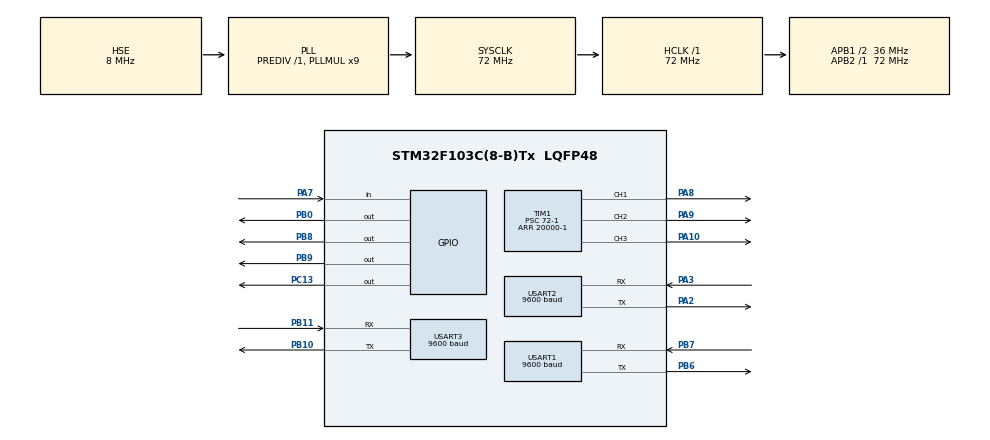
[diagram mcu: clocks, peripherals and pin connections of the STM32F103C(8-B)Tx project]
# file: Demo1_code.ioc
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Mcu.Family=STM32F1
Mcu.Name=STM32F103C(8-B)Tx
Mcu.Package=LQFP48
NVIC.PriorityGroup=NVIC_PRIORITYGROUP_4
NVIC.TIM1_BRK_IRQn=true\:0\:0\:false\:false\:true\:true\:true\:true
NVIC.TIM1_CC_IRQn=true\:0\:0\:false\:false\:true\:true\:true\:true
NVIC.TIM1_TRG_COM_IRQn=true\:0\:0\:false\:false\:true\:true\:true\:true
NVIC.TIM1_UP_IRQn=true\:0\:0\:false\:false\:true\:true\:true\:true
NVIC.USART1_IRQn=true\:0\:0\:false\:false\:true\:true\:true\:true
NVIC.USART2_IRQn=true\:0\:0\:false\:false\:true\:true\:true\:true
NVIC.USART3_IRQn=true\:0\:0\:false\:false\:true\:true\:true\:true
PA10.Signal=S_TIM1_CH3
PA13.Mode=Serial_Wire
PA13.Signal=SYS_JTMS-SWDIO
PA14.Mode=Serial_Wire
PA14.Signal=SYS_JTCK-SWCLK
PA2.Mode=Asynchronous
PA2.Signal=USART2_TX
PA3.Mode=Asynchronous
PA3.Signal=USART2_RX
PA7.Signal=GPIO_Input
PA8.Signal=S_TIM1_CH1
PA9.Signal=S_TIM1_CH2
PB0.Signal=GPIO_Output
PB10.Mode=Asynchronous
PB10.Signal=USART3_TX
PB11.Mode=Asynchronous
PB11.Signal=USART3_RX
PB6.Mode=Asynchronous
PB6.Signal=USART1_TX
PB7.Mode=Asynchronous
PB7.Signal=USART1_RX
PB8.Signal=GPIO_Output
PB9.Signal=GPIO_Output
PC13-TAMPER-RTC.Signal=GPIO_Output
PD0-OSC_IN.Mode=HSE-External-Oscillator
PD0-OSC_IN.Signal=RCC_OSC_IN
PD1-OSC_OUT.Mode=HSE-External-Oscillator
PD1-OSC_OUT.Signal=RCC_OSC_OUT
ProjectManager.HeapSize=0x200
ProjectManager.StackSize=0x400
ProjectManager.TargetToolchain=STM32CubeIDE
RCC.AHBFreq_Value=72000000
RCC.APB1CLKDivider=RCC_HCLK_DIV2
RCC.APB1Freq_Value=36000000
RCC.APB1TimFreq_Value=72000000
RCC.APB2Freq_Value=72000000
RCC.APB2TimFreq_Value=72000000
RCC.HCLKFreq_Value=72000000
RCC.PLLMUL=RCC_PLL_MUL9
RCC.PLLSourceVirtual=RCC_PLLSOURCE_HSE
RCC.SYSCLKFreq_VALUE=72000000
RCC.SYSCLKSource=RCC_SYSCLKSOURCE_PLLCLK
RCC.USBFreq_Value=72000000
SH.S_TIM1_CH1.0=TIM1_CH1,PWM Generation1 CH1
SH.S_TIM1_CH2.0=TIM1_CH2,PWM Generation2 CH2
SH.S_TIM1_CH3.0=TIM1_CH3,PWM Generation3 CH3
TIM1.Channel-PWM\ Generation1\ CH1=TIM_CHANNEL_1
TIM1.Channel-PWM\ Generation2\ CH2=TIM_CHANNEL_2
TIM1.Channel-PWM\ Generation3\ CH3=TIM_CHANNEL_3
TIM1.Period=20000-1
TIM1.Prescaler=72-1
USART1.BaudRate=9600
USART1.VirtualMode=VM_ASYNC
USART2.BaudRate=9600
USART2.VirtualMode=VM_ASYNC
USART3.BaudRate=9600
USART3.VirtualMode=VM_ASYNC
VP_TIM1_VS_ClockSourceINT.Mode=Internal
board=custom

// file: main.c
/* USER CODE BEGIN Header */
/**
  ******************************************************************************
  * @file           : main.c
  * @brief          : Main program body
  ******************************************************************************
  * @attention
  *
  * Copyright (c) 2025 STMicroelectronics.
  * All rights reserved.
  *
  * This software is licensed under terms that can be found in the LICENSE file
  * in the root directory of this software component.
  * If no LICENSE file comes with this software, it is provided AS-IS.
  *
  ******************************************************************************
  */
/* USER CODE END Header */
#include "main.h"

/* USER CODE BEGIN Includes */
#include"stdio.h"
/* USER CODE END Includes */

TIM_HandleTypeDef htim1;

UART_HandleTypeDef huart1;
UART_HandleTypeDef huart2;
UART_HandleTypeDef huart3;

/* USER CODE BEGIN PV */
uint8_t rxByte = 0;
uint8_t rxBuffer[64];
uint8_t index = 0;
/* USER CODE END PV */

void SystemClock_Config(void);
static void MX_GPIO_Init(void);
static void MX_TIM1_Init(void);
static void MX_USART1_UART_Init(void);
static void MX_USART2_UART_Init(void);
static void MX_USART3_UART_Init(void);

/* USER CODE BEGIN 0 */
uint16_t time = 0;
/* USER CODE END 0 */

int main(void)
{

  /* USER CODE BEGIN 1 */
	HAL_Init();
  /* USER CODE END 1 */

  /* MCU Configuration--------------------------------------------------------*/

  /* Reset of all peripherals, Initializes the Flash interface and the Systick. */
  HAL_Init();

  /* Configure the system clock */
  SystemClock_Config();

  /* Initialize all configured peripherals */
  MX_GPIO_Init();
  MX_TIM1_Init();
  MX_USART1_UART_Init();
  MX_USART2_UART_Init();
  MX_USART3_UART_Init();
  /* USER CODE BEGIN 2 */
  HAL_UART_Receive_IT(&huart1, &rxByte, 1);

  HAL_TIM_PWM_Start(&htim1, TIM_CHANNEL_1);
   HAL_TIM_PWM_Start(&htim1, TIM_CHANNEL_2);
   HAL_TIM_PWM_Start(&htim1, TIM_CHANNEL_3);

   __HAL_TIM_SET_COMPARE(&htim1,TIM_CHANNEL_1,1000); //left motor from the box side , direction start 1000 , lower header
 __HAL_TIM_SET_COMPARE(&htim1,TIM_CHANNEL_2,1500); //right motor from the box side , bidirectional start from 1500 , A9 in the middle header
 __HAL_TIM_SET_COMPARE(&htim1,TIM_CHANNEL_3,1000);// top motor in the robot , direction start from 1000 up , header
//   __HAL_TIM_SET_COMPARE(&htim1,TIM_CHANNEL_3,1500);
  /* USER CODE END 2 */

  /* Infinite loop */
  while (1)
  {

	  if(HAL_GetTick() - time > 200){
		  time = HAL_GetTick();
		  HAL_GPIO_TogglePin(GPIOC, GPIO_PIN_13);

	  }

	  HAL_GPIO_WritePin(GPIOB, GPIO_PIN_0,1);//LED pin B0 active high
	  HAL_GPIO_WritePin(GPIOB, GPIO_PIN_8,0);//enble RS485 recive only
	  HAL_GPIO_WritePin(GPIOB, GPIO_PIN_9,0);

	  if(!HAL_GPIO_ReadPin(GPIOA, GPIO_PIN_7)){ //A7 button active low
		  while(!HAL_GPIO_ReadPin(GPIOA, GPIO_PIN_7));
		  HAL_UART_Transmit(&huart2, (uint8_t*)"Hello USART2\r\n", 14, HAL_MAX_DELAY);
		  __HAL_TIM_SET_COMPARE(&htim1,TIM_CHANNEL_1,1700);
		  __HAL_TIM_SET_COMPARE(&htim1,TIM_CHANNEL_2,1700);
		  __HAL_TIM_SET_COMPARE(&htim1,TIM_CHANNEL_3,1700);
		  //	      HAL_Delay(1000);
	  }
  }
}

void SystemClock_Config(void)
{
  RCC_OscInitTypeDef RCC_OscInitStruct = {0};
  RCC_ClkInitTypeDef RCC_ClkInitStruct = {0};

  /** Initializes the RCC Oscillators according to the specified parameters
  * in the RCC_OscInitTypeDef structure.
  */
  RCC_OscInitStruct.OscillatorType = RCC_OSCILLATORTYPE_HSE;
  RCC_OscInitStruct.HSEState = RCC_HSE_ON;
  RCC_OscInitStruct.HSEPredivValue = RCC_HSE_PREDIV_DIV1;
  RCC_OscInitStruct.HSIState = RCC_HSI_ON;
  RCC_OscInitStruct.PLL.PLLState = RCC_PLL_ON;
  RCC_OscInitStruct.PLL.PLLSource = RCC_PLLSOURCE_HSE;
  RCC_OscInitStruct.PLL.PLLMUL = RCC_PLL_MUL9;
  if (HAL_RCC_OscConfig(&RCC_OscInitStruct) != HAL_OK)
  {
    Error_Handler();
  }

  /** Initializes the CPU, AHB and APB buses clocks
  */
  RCC_ClkInitStruct.ClockType = RCC_CLOCKTYPE_HCLK|RCC_CLOCKTYPE_SYSCLK
                              |RCC_CLOCKTYPE_PCLK1|RCC_CLOCKTYPE_PCLK2;
  RCC_ClkInitStruct.SYSCLKSource = RCC_SYSCLKSOURCE_PLLCLK;
  RCC_ClkInitStruct.AHBCLKDivider = RCC_SYSCLK_DIV1;
  RCC_ClkInitStruct.APB1CLKDivider = RCC_HCLK_DIV2;
  RCC_ClkInitStruct.APB2CLKDivider = RCC_HCLK_DIV1;

  if (HAL_RCC_ClockConfig(&RCC_ClkInitStruct, FLASH_LATENCY_2) != HAL_OK)
  {
    Error_Handler();
  }
}

static void MX_TIM1_Init(void)
{

  TIM_ClockConfigTypeDef sClockSourceConfig = {0};
  TIM_MasterConfigTypeDef sMasterConfig = {0};
  TIM_OC_InitTypeDef sConfigOC = {0};
  TIM_BreakDeadTimeConfigTypeDef sBreakDeadTimeConfig = {0};

  htim1.Instance = TIM1;
  htim1.Init.Prescaler = 72-1;
  htim1.Init.CounterMode = TIM_COUNTERMODE_UP;
  htim1.Init.Period = 20000-1;
  htim1.Init.ClockDivision = TIM_CLOCKDIVISION_DIV1;
  htim1.Init.RepetitionCounter = 0;
  htim1.Init.AutoReloadPreload = TIM_AUTORELOAD_PRELOAD_DISABLE;
  if (HAL_TIM_Base_Init(&htim1) != HAL_OK)
  {
    Error_Handler();
  }
  sClockSourceConfig.ClockSource = TIM_CLOCKSOURCE_INTERNAL;
  if (HAL_TIM_ConfigClockSource(&htim1, &sClockSourceConfig) != HAL_OK)
  {
    Error_Handler();
  }
  if (HAL_TIM_PWM_Init(&htim1) != HAL_OK)
  {
    Error_Handler();
  }
  sMasterConfig.MasterOutputTrigger = TIM_TRGO_RESET;
  sMasterConfig.MasterSlaveMode = TIM_MASTERSLAVEMODE_DISABLE;
  if (HAL_TIMEx_MasterConfigSynchronization(&htim1, &sMasterConfig) != HAL_OK)
  {
    Error_Handler();
  }
  sConfigOC.OCMode = TIM_OCMODE_PWM1;
  sConfigOC.Pulse = 0;
  sConfigOC.OCPolarity = TIM_OCPOLARITY_HIGH;
  sConfigOC.OCNPolarity = TIM_OCNPOLARITY_HIGH;
  sConfigOC.OCFastMode = TIM_OCFAST_DISABLE;
  sConfigOC.OCIdleState = TIM_OCIDLESTATE_RESET;
  sConfigOC.OCNIdleState = TIM_OCNIDLESTATE_RESET;
  if (HAL_TIM_PWM_ConfigChannel(&htim1, &sConfigOC, TIM_CHANNEL_1) != HAL_OK)
  {
    Error_Handler();
  }
  if (HAL_TIM_PWM_ConfigChannel(&htim1, &sConfigOC, TIM_CHANNEL_2) != HAL_OK)
  {
    Error_Handler();
  }
  if (HAL_TIM_PWM_ConfigChannel(&htim1, &sConfigOC, TIM_CHANNEL_3) != HAL_OK)
  {
    Error_Handler();
  }
  sBreakDeadTimeConfig.OffStateRunMode = TIM_OSSR_DISABLE;
  sBreakDeadTimeConfig.OffStateIDLEMode = TIM_OSSI_DISABLE;
  sBreakDeadTimeConfig.LockLevel = TIM_LOCKLEVEL_OFF;
  sBreakDeadTimeConfig.DeadTime = 0;
  sBreakDeadTimeConfig.BreakState = TIM_BREAK_DISABLE;
  sBreakDeadTimeConfig.BreakPolarity = TIM_BREAKPOLARITY_HIGH;
  sBreakDeadTimeConfig.AutomaticOutput = TIM_AUTOMATICOUTPUT_DISABLE;
  if (HAL_TIMEx_ConfigBreakDeadTime(&htim1, &sBreakDeadTimeConfig) != HAL_OK)
  {
    Error_Handler();
  }
  HAL_TIM_MspPostInit(&htim1);

}

static void MX_USART1_UART_Init(void)
{

  huart1.Instance = USART1;
  huart1.Init.BaudRate = 9600;
  huart1.Init.WordLength = UART_WORDLENGTH_8B;
  huart1.Init.StopBits = UART_STOPBITS_1;
  huart1.Init.Parity = UART_PARITY_NONE;
  huart1.Init.Mode = UART_MODE_TX_RX;
  huart1.Init.HwFlowCtl = UART_HWCONTROL_NONE;
  huart1.Init.OverSampling = UART_OVERSAMPLING_16;
  if (HAL_UART_Init(&huart1) != HAL_OK)
  {
    Error_Handler();
  }

}

static void MX_USART2_UART_Init(void)
{

  huart2.Instance = USART2;
  huart2.Init.BaudRate = 9600;
  huart2.Init.WordLength = UART_WORDLENGTH_8B;
  huart2.Init.StopBits = UART_STOPBITS_1;
  huart2.Init.Parity = UART_PARITY_NONE;
  huart2.Init.Mode = UART_MODE_TX_RX;
  huart2.Init.HwFlowCtl = UART_HWCONTROL_NONE;
  huart2.Init.OverSampling = UART_OVERSAMPLING_16;
  if (HAL_UART_Init(&huart2) != HAL_OK)
  {
    Error_Handler();
  }

}

static void MX_USART3_UART_Init(void)
{

  huart3.Instance = USART3;
  huart3.Init.BaudRate = 9600;
  huart3.Init.WordLength = UART_WORDLENGTH_8B;
  huart3.Init.StopBits = UART_STOPBITS_1;
  huart3.Init.Parity = UART_PARITY_NONE;
  huart3.Init.Mode = UART_MODE_TX_RX;
  huart3.Init.HwFlowCtl = UART_HWCONTROL_NONE;
  huart3.Init.OverSampling = UART_OVERSAMPLING_16;
  if (HAL_UART_Init(&huart3) != HAL_OK)
  {
    Error_Handler();
  }

}

static void MX_GPIO_Init(void)
{
  GPIO_InitTypeDef GPIO_InitStruct = {0};

  /* GPIO Ports Clock Enable */
  __HAL_RCC_GPIOC_CLK_ENABLE();
  __HAL_RCC_GPIOD_CLK_ENABLE();
  __HAL_RCC_GPIOA_CLK_ENABLE();
  __HAL_RCC_GPIOB_CLK_ENABLE();

  /*Configure GPIO pin Output Level */
  HAL_GPIO_WritePin(GPIOC, GPIO_PIN_13, GPIO_PIN_RESET);

  /*Configure GPIO pin Output Level */
  HAL_GPIO_WritePin(GPIOB, GPIO_PIN_0|GPIO_PIN_8|GPIO_PIN_9, GPIO_PIN_RESET);

  /*Configure GPIO pin : PC13 */
  GPIO_InitStruct.Pin = GPIO_PIN_13;
  GPIO_InitStruct.Mode = GPIO_MODE_OUTPUT_PP;
  GPIO_InitStruct.Pull = GPIO_NOPULL;
  GPIO_InitStruct.Speed = GPIO_SPEED_FREQ_LOW;
  HAL_GPIO_Init(GPIOC, &GPIO_InitStruct);

  /*Configure GPIO pin : PA7 */
  GPIO_InitStruct.Pin = GPIO_PIN_7;
  GPIO_InitStruct.Mode = GPIO_MODE_INPUT;
  GPIO_InitStruct.Pull = GPIO_NOPULL;
  HAL_GPIO_Init(GPIOA, &GPIO_InitStruct);

  /*Configure GPIO pins : PB0 PB8 PB9 */
  GPIO_InitStruct.Pin = GPIO_PIN_0|GPIO_PIN_8|GPIO_PIN_9;
  GPIO_InitStruct.Mode = GPIO_MODE_OUTPUT_PP;
  GPIO_InitStruct.Pull = GPIO_NOPULL;
  GPIO_InitStruct.Speed = GPIO_SPEED_FREQ_LOW;
  HAL_GPIO_Init(GPIOB, &GPIO_InitStruct);

}

/* USER CODE BEGIN 4 */

void HAL_UART_RxCpltCallback(UART_HandleTypeDef *huart) {
  if (huart->Instance == USART1) {
    if (rxByte == '\n') {
      rxBuffer[index] = '\0';

      HAL_GPIO_TogglePin(GPIOC, GPIO_PIN_13);

      uint16_t buttons;
      int16_t lx, ly, rx, ry, r2, l2, dpad;

      sscanf((char*)rxBuffer,
             "BTN:%hu,LX:%hd,LY:%hd,RX:%hd,RY:%hd,r2:%hd,l2:%hd,dpad:%hd",
             &buttons, &lx, &ly, &rx, &ry, &r2, &l2, &dpad);

      if (buttons & 0x0001) { // X

    		    //  __HAL_TIM_SET_COMPARE(&htim1,TIM_CHANNEL_,1500);

    		      __HAL_TIM_SET_COMPARE(&htim1,TIM_CHANNEL_1,2000); // right
    		      __HAL_TIM_SET_COMPARE(&htim1,TIM_CHANNEL_3,2000);//up

    		      HAL_GPIO_TogglePin(GPIOB, GPIO_PIN_0);
      }

      if (buttons & 0x0008) { // tri

    	  	  	//  __HAL_TIM_SET_COMPARE(&htim1,TIM_CHANNEL_1,1000); // right

    		      __HAL_TIM_SET_COMPARE(&htim1,TIM_CHANNEL_2,1000); //left

    		      	  HAL_GPIO_TogglePin(GPIOB, GPIO_PIN_0);
      }
      if (buttons & 0x0004) { //sqr reverse

    	          //    __HAL_TIM_SET_COMPARE(&htim1,TIM_CHANNEL_1,500);   //
    	        	  __HAL_TIM_SET_COMPARE(&htim1,TIM_CHANNEL_2,2000);

    	        	//  __HAL_TIM_SET_COMPARE(&htim1,TIM_CHANNEL_3,1000);

    	  	  	  	  HAL_GPIO_TogglePin(GPIOB, GPIO_PIN_0);
      }

      if (buttons & 0x0002) { //circle

        	  __HAL_TIM_SET_COMPARE(&htim1,TIM_CHANNEL_1,1000);   // intial state for the motors
        	  __HAL_TIM_SET_COMPARE(&htim1,TIM_CHANNEL_2,1500);
        	  __HAL_TIM_SET_COMPARE(&htim1,TIM_CHANNEL_3,1000);

        	  HAL_GPIO_TogglePin(GPIOB, GPIO_PIN_0);
          }
      if (buttons & 0x0020) { // R1

           	  __HAL_TIM_SET_COMPARE(&htim1,TIM_CHANNEL_1,1200);   // intial state for the motors
           	  __HAL_TIM_SET_COMPARE(&htim1,TIM_CHANNEL_3,2000);
           	 // __HAL_TIM_SET_COMPARE(&htim1,TIM_CHANNEL_3,1000);

           	  HAL_GPIO_TogglePin(GPIOB, GPIO_PIN_0);
             }
      if (buttons & 0x0010) { // L1

           	  __HAL_TIM_SET_COMPARE(&htim1,TIM_CHANNEL_1,2000);   // intial state for the motors
           	  __HAL_TIM_SET_COMPARE(&htim1,TIM_CHANNEL_3,1200);

           	//  __HAL_TIM_SET_COMPARE(&htim1,TIM_CHANNEL_3,1000);

           	  HAL_GPIO_TogglePin(GPIOB, GPIO_PIN_0);
             }

      // USART2
      HAL_UART_Transmit(&huart2, rxBuffer, index, HAL_MAX_DELAY);
      HAL_UART_Transmit(&huart2, (uint8_t*)"\r\n", 2, HAL_MAX_DELAY);

      index = 0;
    } else {
      if (index < sizeof(rxBuffer) - 1) {
        rxBuffer[index++] = rxByte;
      } else {
        index = 0;
      }
    }
    HAL_UART_Receive_IT(&huart1, &rxByte, 1);
  }
}
/* USER CODE END 4 */

void Error_Handler(void)
{
  __disable_irq();
  while (1)
  {
  }
}
